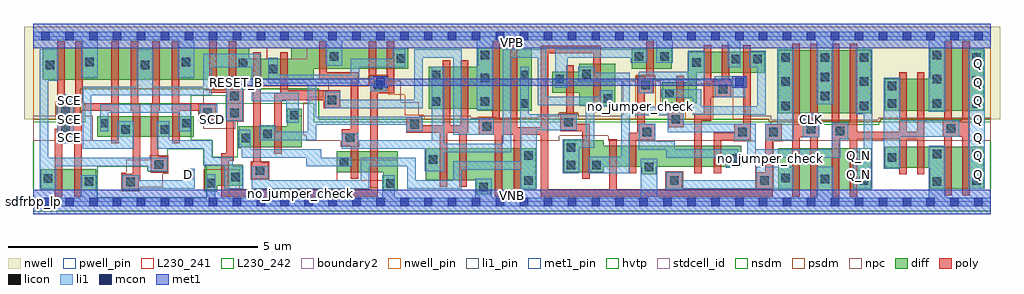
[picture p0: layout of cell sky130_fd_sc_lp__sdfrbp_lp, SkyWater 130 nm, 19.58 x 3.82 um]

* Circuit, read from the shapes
.subckt sky130_fd_sc_lp__sdfrbp_lp CLK D Q Q_N RESET_B SCD SCE VGND VNB VPB VPWR
XM1 n1 SCE n2 VNB sky130_fd_pr__nfet_01v8 w=0.42 l=0.15
XM2 VGND SCE n1 VNB sky130_fd_pr__nfet_01v8 w=0.42 l=0.15
XM3 n3 SCE n4 VNB sky130_fd_pr__nfet_01v8 w=0.42 l=0.15
XM4 n5 D n3 VNB sky130_fd_pr__nfet_01v8 w=0.42 l=0.15
XM5 n6 n2 n5 VNB sky130_fd_pr__nfet_01v8 w=0.42 l=0.15
XM6 n4 SCD n6 VNB sky130_fd_pr__nfet_01v8 w=0.42 l=0.15
XM7 n6 RESET_B VGND VNB sky130_fd_pr__nfet_01v8 w=0.42 l=0.15
XM8 n7 n8 n9 VNB sky130_fd_pr__nfet_01v8 w=0.42 l=0.15
XM9 n3 n10 n7 VNB sky130_fd_pr__nfet_01v8 w=0.42 l=0.15
XM10 n11 n12 n9 VNB sky130_fd_pr__nfet_01v8 w=0.42 l=0.15
XM11 VGND RESET_B n11 VNB sky130_fd_pr__nfet_01v8 w=0.42 l=0.15
XM12 n13 n7 n12 VNB sky130_fd_pr__nfet_01v8 w=0.64 l=0.15
XM13 VGND n7 n13 VNB sky130_fd_pr__nfet_01v8 w=0.64 l=0.15
XM14 n14 n10 VGND VNB sky130_fd_pr__nfet_01v8 w=0.84 l=0.15
XM15 n8 n10 n14 VNB sky130_fd_pr__nfet_01v8 w=0.84 l=0.15
XM16 n15 n8 n12 VNB sky130_fd_pr__nfet_01v8 w=0.64 l=0.15
XM17 n16 n10 n15 VNB sky130_fd_pr__nfet_01v8 w=0.42 l=0.15
XM18 VGND n17 n16 VNB sky130_fd_pr__nfet_01v8 w=0.42 l=0.15
XM19 n18 RESET_B VGND VNB sky130_fd_pr__nfet_01v8 w=0.42 l=0.15
XM20 n17 n15 n18 VNB sky130_fd_pr__nfet_01v8 w=0.42 l=0.15
XM21 n19 CLK n10 VNB sky130_fd_pr__nfet_01v8 w=0.84 l=0.15
XM22 VGND CLK n19 VNB sky130_fd_pr__nfet_01v8 w=0.84 l=0.15
XM23 n20 n15 VGND VNB sky130_fd_pr__nfet_01v8 w=0.84 l=0.15
XM24 Q_N n15 n20 VNB sky130_fd_pr__nfet_01v8 w=0.84 l=0.15
XM25 n21 n15 n22 VNB sky130_fd_pr__nfet_01v8 w=0.42 l=0.15
XM26 VGND n15 n21 VNB sky130_fd_pr__nfet_01v8 w=0.42 l=0.15
XM27 n23 n22 VGND VNB sky130_fd_pr__nfet_01v8 w=0.84 l=0.15
XM28 Q n22 n23 VNB sky130_fd_pr__nfet_01v8 w=0.84 l=0.15
XM29 n24 SCE n2 VPB sky130_fd_pr__pfet_01v8_hvt w=0.64 l=0.15
XM30 VPWR SCE n24 VPB sky130_fd_pr__pfet_01v8_hvt w=0.64 l=0.15
XM31 n25 SCE VPWR VPB sky130_fd_pr__pfet_01v8_hvt w=0.64 l=0.15
XM32 n3 D n25 VPB sky130_fd_pr__pfet_01v8_hvt w=0.64 l=0.15
XM33 n26 n2 n3 VPB sky130_fd_pr__pfet_01v8_hvt w=0.64 l=0.15
XM34 VPWR SCD n26 VPB sky130_fd_pr__pfet_01v8_hvt w=0.64 l=0.15
XM35 n27 RESET_B VPWR VPB sky130_fd_pr__pfet_01v8_hvt w=0.64 l=0.15
XM36 n3 RESET_B n27 VPB sky130_fd_pr__pfet_01v8_hvt w=0.64 l=0.15
XM37 n7 n8 n3 VPB sky130_fd_pr__pfet_01v8_hvt w=0.42 l=0.15
XM38 n28 n10 n7 VPB sky130_fd_pr__pfet_01v8_hvt w=0.42 l=0.15
XM39 VPWR n12 n28 VPB sky130_fd_pr__pfet_01v8_hvt w=0.42 l=0.15
XM40 n29 RESET_B VPWR VPB sky130_fd_pr__pfet_01v8_hvt w=0.42 l=0.15
XM41 n7 RESET_B n29 VPB sky130_fd_pr__pfet_01v8_hvt w=0.42 l=0.15
XM42 n30 n7 n12 VPB sky130_fd_pr__pfet_01v8_hvt w=0.84 l=0.15
XM43 VPWR n7 n30 VPB sky130_fd_pr__pfet_01v8_hvt w=0.84 l=0.15
XM44 n31 n10 VPWR VPB sky130_fd_pr__pfet_01v8_hvt w=1.26 l=0.15
XM45 n8 n10 n31 VPB sky130_fd_pr__pfet_01v8_hvt w=1.26 l=0.15
XM46 n15 n8 n32 VPB sky130_fd_pr__pfet_01v8_hvt w=0.42 l=0.15
XM47 n12 n10 n15 VPB sky130_fd_pr__pfet_01v8_hvt w=0.84 l=0.15
XM48 VPWR n17 n32 VPB sky130_fd_pr__pfet_01v8_hvt w=0.42 l=0.15
XM49 n17 n15 n33 VPB sky130_fd_pr__pfet_01v8_hvt w=0.42 l=0.15
XM50 n34 RESET_B n17 VPB sky130_fd_pr__pfet_01v8_hvt w=0.42 l=0.15
XM51 VPWR RESET_B n34 VPB sky130_fd_pr__pfet_01v8_hvt w=0.42 l=0.15
XM52 n33 n15 VPWR VPB sky130_fd_pr__pfet_01v8_hvt w=0.42 l=0.15
XM53 n35 CLK n10 VPB sky130_fd_pr__pfet_01v8_hvt w=1.26 l=0.15
XM54 VPWR CLK n35 VPB sky130_fd_pr__pfet_01v8_hvt w=1.26 l=0.15
XM55 n36 n15 VPWR VPB sky130_fd_pr__pfet_01v8_hvt w=1.26 l=0.15
XM56 Q_N n15 n36 VPB sky130_fd_pr__pfet_01v8_hvt w=1.26 l=0.15
XM57 n37 n15 n22 VPB sky130_fd_pr__pfet_01v8_hvt w=0.64 l=0.15
XM58 VPWR n15 n37 VPB sky130_fd_pr__pfet_01v8_hvt w=0.64 l=0.15
XM59 n38 n22 VPWR VPB sky130_fd_pr__pfet_01v8_hvt w=1.26 l=0.15
XM60 Q n22 n38 VPB sky130_fd_pr__pfet_01v8_hvt w=1.26 l=0.15
.ends

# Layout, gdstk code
import gdstk
lib = gdstk.Library(unit=1e-6, precision=1e-09)
def R(c, l, rs):  # rectangles x0, y0, x1, y1
    for r in rs: c.add(gdstk.rectangle(r[:2], r[2:], *l))
def A(c, l, x, y, w, h, nx, ny, dx, dy):  # array of equal rectangles
    R(c, l, [(x+i*dx, y+j*dy, x+i*dx+w, y+j*dy+h) for i in range(nx) for j in range(ny)])
def P(c, l, *ps):  # polygons
    for p in ps: c.add(gdstk.Polygon(p, *l))
nwell_pin = (64, 16)
nwell = (64, 20)
diff = (65, 20)
poly = (66, 20)
licon = (66, 44)
li1_pin = (67, 16)
li1 = (67, 20)
mcon = (67, 44)
met1_pin = (68, 16)
met1 = (68, 20)
hvtp = (78, 44)
stdcell_id = (81, 4)
nsdm = (93, 44)
psdm = (94, 20)
npc = (95, 20)
pwell_pin = (122, 16)
L230_241 = (230, 241)
L230_242 = (230, 242)
boundary2 = (236, 0)

sky130_fd_sc_lp__sdfrbp_ = lib.new_cell('sky130_fd_sc_lp__sdfrbp_lp')
R(sky130_fd_sc_lp__sdfrbp_, nwell_pin, [(0,3.085,19.2,3.33)])
P(sky130_fd_sc_lp__sdfrbp_, nwell, [(19.39,3.52),(-0.19,3.52),(-0.19,1.655),(0.935,1.655),(0.935,2.275),(5.725,2.275),(5.725,1.655),(14.76,1.655),(14.76,1.605),(16.99,1.605),(16.99,1.655),(19.39,1.655)])
R(sky130_fd_sc_lp__sdfrbp_, diff, [(0.145,0.235,1.255,0.655), (14.94,0.235,16.81,1.075), (1.275,1.305,3.215,1.725), (14.94,1.785,16.81,3.045), (12.005,2.675,12.805,3.095)])
P(sky130_fd_sc_lp__sdfrbp_, diff, [(19.065,1.105),(17.08,1.105),(17.08,0.685),(17.985,0.685),(17.985,0.265),(19.065,0.265)],
  [(19.065,3.095),(17.985,3.095),(17.985,2.475),(17.08,2.475),(17.08,1.835),(19.065,1.835)],
  [(4.2,0.75),(3.44,0.75),(3.44,0.215),(3.69,0.215),(3.69,0.33),(4.2,0.33)],
  [(5.385,1.875),(5.095,1.875),(5.095,1.515),(4.12,1.515),(4.12,1.095),(5.385,1.095)],
  [(7.305,1.015),(6.08,1.015),(6.08,0.595),(7.015,0.595),(7.015,0.225),(7.305,0.225)],
  [(7.52,3.095),(5.175,3.095),(5.175,2.875),(4.33,2.875),(4.33,3.095),(0.19,3.095),(0.19,2.455),(5.625,2.455),(5.625,2.675),(7.52,2.675)],
  [(9.995,3.095),(8.915,3.095),(8.915,2.715),(7.93,2.715),(7.93,1.875),(8.915,1.875),(8.915,1.835),(9.995,1.835)],
  [(10.075,1.075),(7.87,1.075),(7.87,0.435),(8.885,0.435),(8.885,0.155),(9.175,0.155),(9.175,0.235),(10.075,0.235)],
  [(11.67,2.775),(10.95,2.775),(10.95,2.615),(10.405,2.615),(10.405,2.195),(10.95,2.195),(10.95,1.935),(11.67,1.935)],
  [(14.2,1.125),(11.44,1.125),(11.44,1.235),(10.64,1.235),(10.64,0.595),(11.44,0.595),(11.44,0.705),(12.2,0.705),(12.2,0.56),(12.49,0.56),(12.49,0.705),(14.2,0.705)],
  [(14.67,3.01),(13.125,3.01),(13.125,2.405),(12.615,2.405),(12.615,1.985),(13.31,1.985),(13.31,2.59),(14.67,2.59)])
R(sky130_fd_sc_lp__sdfrbp_, poly, [(4.38,0.465,4.555,0.795)])
P(sky130_fd_sc_lp__sdfrbp_, poly, [(1.71,3.225),(1.56,3.225),(1.56,1.985),(0.985,1.985),(0.985,3.225),(0.835,3.225),(0.835,1.985),(0.625,1.985),(0.625,3.225),(0.475,3.225),(0.475,1.465),(0.43,1.465),(0.43,0.105),(0.58,0.105),(0.58,1.315),(0.82,1.315),(0.82,0.105),(0.97,0.105),(0.97,1.835),(1.56,1.835),(1.56,1.175),(1.71,1.175)],
  [(2.14,1.985),(2.1,1.985),(2.1,3.225),(1.95,3.225),(1.95,1.835),(1.99,1.835),(1.99,0.565),(1.78,0.565),(1.78,0.235),(2.11,0.235),(2.11,0.415),(2.14,0.415)],
  [(2.68,0.915),(2.5,0.915),(2.5,1.835),(2.53,1.835),(2.53,3.225),(2.38,3.225),(2.38,1.985),(2.35,1.985),(2.35,0.585),(2.68,0.585)],
  [(3.655,1.985),(2.92,1.985),(2.92,3.225),(2.77,3.225),(2.77,1.835),(2.78,1.835),(2.78,1.175),(2.93,1.175),(2.93,1.835),(3.325,1.835),(3.325,1.635),(3.655,1.635)],
  [(18.78,3.225),(18.63,3.225),(18.63,1.635),(18.42,1.635),(18.42,3.225),(18.27,3.225),(18.27,1.635),(18.245,1.635),(18.245,1.305),(18.27,1.305),(18.27,0.135),(18.42,0.135),(18.42,1.305),(18.63,1.305),(18.63,0.135),(18.78,0.135)],
  [(4.71,0.795),(4.555,0.795),(4.555,3.005),(4.405,3.005),(4.405,0.465),(4.71,0.465)],
  [(6.155,2.24),(5.1,2.24),(5.1,3.005),(4.95,3.005),(4.95,2.195),(4.835,2.195),(4.835,0.965),(4.985,0.965),(4.985,2.045),(5.825,2.045),(5.825,1.885),(6.155,1.885)],
  [(6.515,2.6),(5.885,2.6),(5.885,3.225),(5.735,3.225),(5.735,2.45),(6.365,2.45),(6.365,1.455),(6.185,1.455),(6.185,1.125),(6.365,1.125),(6.365,0.465),(6.515,0.465)],
  [(7.235,3.225),(7.085,3.225),(7.085,2.515),(6.875,2.515),(6.875,3.225),(6.725,3.225),(6.725,2.365),(6.755,2.365),(6.755,0.255),(3.915,0.255),(3.915,0.825),(4.015,0.825),(4.015,1.625),(4.195,1.625),(4.195,2.345),(4.065,2.345),(4.065,3.225),(3.915,3.225),(3.915,2.345),(3.675,2.345),(3.675,3.225),(3.525,3.225),(3.525,2.195),(3.865,2.195),(3.865,0.975),(3.765,0.975),(3.765,0.105),(6.905,0.105),(6.905,2.185),(7.235,2.185)],
  [(8.725,2.845),(8.575,2.845),(8.575,1.535),(8.365,1.535),(8.365,2.845),(8.215,2.845),(8.215,1.535),(7.81,1.535),(7.81,1.715),(7.48,1.715),(7.48,1.385),(8.155,1.385),(8.155,0.305),(8.305,0.305),(8.305,1.385),(8.545,1.385),(8.545,0.305),(8.695,0.305),(8.695,1.385),(8.725,1.385)],
  [(11.155,1.565),(10.9,1.565),(10.9,1.765),(10.84,1.765),(10.84,2.745),(10.69,2.745),(10.69,1.765),(10.57,1.765),(10.57,1.415),(11.005,1.415),(11.005,0.465),(11.155,0.465)],
  [(12.47,1.565),(12.26,1.565),(12.26,2.185),(12.44,2.185),(12.44,3.225),(12.29,3.225),(12.29,2.515),(12.11,2.515),(12.11,1.385),(11.94,1.385),(11.94,0.575),(12.09,0.575),(12.09,1.235),(12.47,1.235)],
  [(13.05,2.535),(12.9,2.535),(12.9,1.825),(12.72,1.825),(12.72,1.495),(13.05,1.495)],
  [(13.995,2.43),(13.955,2.43),(13.955,3.14),(13.805,3.14),(13.805,2.43),(13.595,2.43),(13.595,3.14),(13.445,3.14),(13.445,1.775),(13.26,1.775),(13.26,0.575),(13.41,0.575),(13.41,1.625),(13.595,1.625),(13.595,2.1),(13.995,2.1)],
  [(14.385,3.14),(14.235,3.14),(14.235,1.57),(14.055,1.57),(14.055,1.385),(13.65,1.385),(13.65,0.575),(13.8,0.575),(13.8,1.235),(14.385,1.235)],
  [(15.015,1.57),(14.685,1.57),(14.685,0.595),(14.5,0.595),(14.5,0.255),(13.02,0.255),(13.02,0.595),(12.69,0.595),(12.69,0.255),(11.7,0.255),(11.7,1.255),(11.55,1.255),(11.55,0.255),(10.33,0.255),(10.33,2.985),(11.235,2.985),(11.235,1.805),(11.385,1.805),(11.385,3.135),(10.18,3.135),(10.18,1.495),(9.71,1.495),(9.71,3.225),(9.56,3.225),(9.56,1.675),(9.35,1.675),(9.35,3.225),(9.2,3.225),(9.2,1.675),(8.935,1.675),(8.935,1.345),(9.25,1.345),(9.25,0.105),(9.4,0.105),(9.4,1.345),(9.64,1.345),(9.64,0.105),(9.79,0.105),(9.79,1.345),(10.18,1.345),(10.18,0.105),(14.835,0.105),(14.835,1.24),(15.015,1.24)],
  [(15.76,1.625),(15.735,1.625),(15.735,3.175),(15.585,3.175),(15.585,1.625),(15.375,1.625),(15.375,3.175),(15.225,3.175),(15.225,0.105),(15.375,0.105),(15.375,1.295),(15.585,1.295),(15.585,0.105),(15.735,0.105),(15.735,1.295),(15.76,1.295)],
  [(17.875,2.605),(17.725,2.605),(17.725,1.405),(17.515,1.405),(17.515,2.605),(17.365,2.605),(17.365,1.405),(16.525,1.405),(16.525,3.175),(16.375,3.175),(16.375,1.585),(16.165,1.585),(16.165,3.175),(16.015,3.175),(16.015,0.105),(16.165,0.105),(16.165,1.255),(16.375,1.255),(16.375,0.105),(16.525,0.105),(16.525,1.255),(17.365,1.255),(17.365,0.555),(17.515,0.555),(17.515,1.255),(17.725,1.255),(17.725,0.555),(17.875,0.555)])
A(sky130_fd_sc_lp__sdfrbp_, licon, 18.045, 1.895, 0.17, 0.17, 1, 3, 0, 0.485)
A(sky130_fd_sc_lp__sdfrbp_, licon, 18.835, 1.895, 0.17, 0.17, 1, 3, 0, 0.46)
A(sky130_fd_sc_lp__sdfrbp_, licon, 8.975, 1.935, 0.17, 0.17, 1, 3, 0, 0.465)
A(sky130_fd_sc_lp__sdfrbp_, licon, 15, 2.815, 0.17, 0.17, 3, 1, 0.79, 0)
R(sky130_fd_sc_lp__sdfrbp_, licon, [(8.945,0.215,9.115,0.385), (7.075,0.285,7.245,0.455), (3.48,0.295,3.65,0.465), (1.86,0.315,2.03,0.485), (18.045,0.325,18.215,0.495), (1.025,0.33,1.195,0.5), (9.845,0.345,10.015,0.515), (12.77,0.345,12.94,0.515), (14.58,0.345,14.75,0.515), (16.58,0.345,16.75,0.515), (18.835,0.345,19.005,0.515), (15.79,0.375,15.96,0.545), (0.205,0.385,0.375,0.555), (15,0.4,15.17,0.57), (3.97,0.42,4.14,0.59), (4.46,0.545,4.63,0.715), (12.26,0.62,12.43,0.79), (10.7,0.655,10.87,0.825), (11.21,0.655,11.38,0.825), (2.43,0.665,2.6,0.835), (6.14,0.715,6.31,0.885), (7.93,0.77,8.1,0.94), (13.97,0.785,14.14,0.955), (17.14,0.81,17.31,0.98), (16.58,0.825,16.75,0.995), (9.845,0.845,10.015,1.015), (18.045,0.875,18.215,1.045), (18.835,0.875,19.005,1.045), (10.7,1.005,10.87,1.175), (4.18,1.195,4.35,1.365), (6.265,1.205,6.435,1.375), (4.61,1.275,4.78,1.445), (12.22,1.315,12.39,1.485), (14.135,1.32,14.305,1.49), (14.765,1.32,14.935,1.49), (16.095,1.335,16.265,1.505), (1.765,1.365,1.935,1.535), (2.555,1.365,2.725,1.535), (15.51,1.375,15.68,1.545), (18.325,1.385,18.495,1.555), (0.555,1.395,0.725,1.565), (9.015,1.425,9.185,1.595), (7.56,1.465,7.73,1.635), (1.335,1.495,1.505,1.665), (2.985,1.495,3.155,1.665), (10.65,1.515,10.82,1.685), (12.8,1.575,12.97,1.745), (5.155,1.665,5.325,1.835), (3.945,1.705,4.115,1.875), (3.405,1.715,3.575,1.885), (0.555,1.735,0.725,1.905), (15,1.845,15.17,2.015), (16.58,1.845,16.75,2.015), (9.765,1.895,9.935,2.065), (17.14,1.895,17.31,2.065), (7.99,1.935,8.16,2.105), (5.905,1.965,6.075,2.135), (11.44,1.995,11.61,2.165), (15.79,2.04,15.96,2.21), (3.945,2.045,4.115,2.215), (12.675,2.095,12.845,2.265), (13.745,2.18,13.915,2.35), (17.14,2.245,17.31,2.415), (6.835,2.265,7.005,2.435), (12.19,2.265,12.36,2.435), (15,2.33,15.17,2.5), (16.58,2.33,16.75,2.5), (10.465,2.38,10.635,2.55), (15.79,2.425,15.96,2.595), (7.99,2.465,8.16,2.635), (9.765,2.465,9.935,2.635), (11.01,2.485,11.18,2.655), (4.725,2.58,4.895,2.75), (0.25,2.665,0.42,2.835), (2.155,2.665,2.325,2.835), (4.12,2.705,4.29,2.875), (13.22,2.715,13.39,2.885), (1.04,2.72,1.21,2.89), (2.975,2.72,3.145,2.89), (14.01,2.78,14.18,2.95), (14.44,2.78,14.61,2.95), (7.29,2.795,7.46,2.965), (12.065,2.83,12.235,3), (12.575,2.83,12.745,3), (5.94,2.835,6.11,3.005)])
A(sky130_fd_sc_lp__sdfrbp_, li1_pin, 18.875, 0.47, 0.17, 0.17, 1, 7, 0, 0.37)
A(sky130_fd_sc_lp__sdfrbp_, li1_pin, 0.635, 1.21, 0.17, 0.17, 1, 3, 0, 0.37)
R(sky130_fd_sc_lp__sdfrbp_, li1_pin, [(3.035,0.47,3.205,0.64), (16.475,0.47,16.645,0.64), (16.475,0.84,16.645,1.01), (3.515,1.58,3.685,1.75), (15.515,1.58,15.685,1.75)])
R(sky130_fd_sc_lp__sdfrbp_, li1, [(18.755,0.265,19.085,3.065), (0.475,1.18,0.805,2.15), (15.43,1.295,15.76,1.78), (3.335,1.55,3.685,1.965), (3.865,1.625,4.195,2.52), (13.665,2.1,14.275,2.52), (6.755,2.225,7.085,2.52)])
P(sky130_fd_sc_lp__sdfrbp_, li1, [(2.68,0.885),(0.295,0.885),(0.295,2.435),(0.5,2.435),(0.5,3.065),(0.125,3.065),(0.125,0.265),(0.455,0.265),(0.455,0.715),(2.295,0.715),(2.295,0.615),(2.68,0.615)],
  [(3.155,1.965),(1.335,1.965),(1.335,1.415),(1.505,1.415),(1.505,1.795),(2.905,1.795),(2.905,1.415),(3.155,1.415)],
  [(3.235,0.67),(3.005,0.67),(3.005,0.435),(2.11,0.435),(2.11,0.535),(1.78,0.535),(1.78,0.265),(3.235,0.265)],
  [(18.575,1.635),(17.39,1.635),(17.39,2.495),(17.06,2.495),(17.06,0.665),(17.39,0.665),(17.39,1.305),(18.575,1.305)],
  [(19.2,0.085),(18.295,0.085),(18.295,1.125),(17.965,1.125),(17.965,0.085),(16.04,0.085),(16.04,0.71),(15.71,0.71),(15.71,0.085),(12.51,0.085),(12.51,0.87),(12.18,0.87),(12.18,0.085),(9.195,0.085),(9.195,0.465),(8.865,0.465),(8.865,0.085),(7.245,0.085),(7.245,0.535),(6.995,0.535),(6.995,0.085),(3.65,0.085),(3.65,0.555),(3.48,0.555),(3.48,0.085),(1.275,0.085),(1.275,0.535),(0.945,0.535),(0.945,0.085),(0,0.085),(0,-0.085),(19.2,-0.085)],
  [(16.345,1.585),(16.015,1.585),(16.015,1.06),(14.49,1.06),(14.49,1.57),(13.05,1.57),(13.05,1.915),(11.96,1.915),(11.96,2.595),(11.26,2.595),(11.26,2.715),(10.93,2.715),(10.93,2.425),(11.79,2.425),(11.79,0.905),(11.13,0.905),(11.13,0.575),(11.96,0.575),(11.96,1.745),(12.72,1.745),(12.72,1.4),(14.055,1.4),(14.055,1.24),(14.32,1.24),(14.32,0.89),(16.185,0.89),(16.185,1.255),(16.345,1.255)],
  [(19.2,3.415),(0,3.415),(0,3.245),(0.96,3.245),(0.96,2.495),(1.29,2.495),(1.29,3.245),(2.895,3.245),(2.895,2.495),(3.225,2.495),(3.225,3.245),(5.86,3.245),(5.86,2.735),(6.19,2.735),(6.19,3.245),(8.895,3.245),(8.895,1.855),(9.225,1.855),(9.225,3.245),(12.495,3.245),(12.495,2.795),(12.825,2.795),(12.825,3.245),(13.93,3.245),(13.93,2.7),(14.18,2.7),(14.18,3.245),(15.71,3.245),(15.71,1.96),(16.04,1.96),(16.04,3.245),(17.965,3.245),(17.965,1.815),(18.295,1.815),(18.295,3.245),(19.2,3.245)],
  [(16.83,3.065),(16.5,3.065),(16.5,1.765),(16.66,1.765),(16.66,1.075),(16.445,1.075),(16.445,0.265),(16.83,0.265)],
  [(15.25,0.71),(14.5,0.71),(14.5,0.435),(13.02,0.435),(13.02,0.595),(12.69,0.595),(12.69,0.265),(15.25,0.265)],
  [(4.21,0.715),(4,0.715),(4,0.895),(3.585,0.895),(3.585,1.235),(2.725,1.235),(2.725,1.615),(2.475,1.615),(2.475,1.065),(3.415,1.065),(3.415,0.725),(3.83,0.725),(3.83,0.265),(4.21,0.265)],
  [(5.325,2.195),(4.545,2.195),(4.545,2.975),(3.405,2.975),(3.405,2.315),(2.405,2.315),(2.405,3.065),(2.075,3.065),(2.075,2.315),(0.985,2.315),(0.985,1.065),(2.015,1.065),(2.015,1.615),(1.685,1.615),(1.685,1.235),(1.155,1.235),(1.155,2.145),(3.575,2.145),(3.575,2.7),(4.375,2.7),(4.375,2.025),(5.075,2.025),(5.075,1.585),(5.325,1.585)],
  [(6.39,0.885),(5.77,0.885),(5.77,1.055),(4.35,1.055),(4.35,1.445),(4.1,1.445),(4.1,1.075),(4.18,1.075),(4.18,0.885),(5.47,0.885),(5.47,0.715),(6.39,0.715)],
  [(7.81,1.715),(5.675,1.715),(5.675,2.385),(6.54,2.385),(6.54,2.7),(7.46,2.7),(7.46,3.065),(7.21,3.065),(7.21,2.87),(6.37,2.87),(6.37,2.555),(4.905,2.555),(4.905,2.895),(4.715,2.895),(4.715,2.385),(5.505,2.385),(5.505,1.405),(4.86,1.405),(4.86,1.535),(4.53,1.535),(4.53,1.235),(5.675,1.235),(5.675,1.545),(7.48,1.545),(7.48,1.415),(7.81,1.415)],
  [(9.235,1.675),(8.59,1.675),(8.59,3.065),(7.64,3.065),(7.64,2.055),(6.155,2.055),(6.155,2.215),(5.855,2.215),(5.855,1.885),(7.81,1.885),(7.81,2.895),(8.42,2.895),(8.42,1.345),(9.235,1.345)],
  [(10.9,1.765),(9.935,1.765),(9.935,2.715),(9.765,2.715),(9.765,0.815),(8.42,0.815),(8.42,0.435),(7.67,0.435),(7.67,0.885),(6.57,0.885),(6.57,0.435),(4.71,0.435),(4.71,0.715),(4.38,0.715),(4.38,0.265),(6.74,0.265),(6.74,0.715),(7.5,0.715),(7.5,0.265),(8.59,0.265),(8.59,0.645),(9.765,0.645),(9.765,0.265),(10.095,0.265),(10.095,1.435),(10.9,1.435)],
  [(11.61,2.245),(11.36,2.245),(11.36,2.115),(10.285,2.115),(10.285,3.065),(9.415,3.065),(9.415,1.165),(8.24,1.165),(8.24,2.715),(7.99,2.715),(7.99,1.235),(6.515,1.235),(6.515,1.375),(6.185,1.375),(6.185,1.065),(7.85,1.065),(7.85,0.615),(8.24,0.615),(8.24,0.995),(9.585,0.995),(9.585,2.895),(10.115,2.895),(10.115,1.945),(11.08,1.945),(11.08,1.255),(10.62,1.255),(10.62,0.575),(10.95,0.575),(10.95,1.085),(11.25,1.085),(11.25,1.915),(11.61,1.915)],
  [(12.315,3.065),(10.465,3.065),(10.465,2.295),(10.715,2.295),(10.715,2.895),(11.985,2.895),(11.985,2.795),(12.315,2.795)],
  [(13.47,3.03),(13.14,3.03),(13.14,2.615),(12.14,2.615),(12.14,2.185),(12.415,2.185),(12.415,2.445),(13.47,2.445)],
  [(14.14,1.06),(12.86,1.06),(12.86,1.22),(12.47,1.22),(12.47,1.565),(12.14,1.565),(12.14,1.05),(12.69,1.05),(12.69,0.89),(13.89,0.89),(13.89,0.685),(14.14,0.685)],
  [(14.69,3.03),(14.36,3.03),(14.36,2.7),(14.52,2.7),(14.52,1.92),(13.4,1.92),(13.4,2.265),(12.595,2.265),(12.595,2.095),(13.23,2.095),(13.23,1.75),(14.69,1.75)],
  [(15.25,3.065),(14.92,3.065),(14.92,1.57),(14.685,1.57),(14.685,1.24),(15.25,1.24)])
A(sky130_fd_sc_lp__sdfrbp_, mcon, 0.155, -0.085, 0.17, 0.17, 40, 2, 0.48, 3.33)
R(sky130_fd_sc_lp__sdfrbp_, mcon, [(3.995,2.32,4.165,2.49), (6.875,2.32,7.045,2.49), (14.075,2.32,14.245,2.49)])
R(sky130_fd_sc_lp__sdfrbp_, met1_pin, [(0,0,19.2,0.245), (3.995,2.32,4.165,2.49), (0,3.085,19.2,3.33)])
R(sky130_fd_sc_lp__sdfrbp_, met1, [(0,-0.245,19.2,0.245), (0,3.085,19.2,3.575)])
P(sky130_fd_sc_lp__sdfrbp_, met1, [(14.305,2.52),(14.015,2.52),(14.015,2.475),(7.105,2.475),(7.105,2.52),(6.815,2.52),(6.815,2.475),(4.225,2.475),(4.225,2.52),(3.935,2.52),(3.935,2.29),(4.225,2.29),(4.225,2.335),(6.815,2.335),(6.815,2.29),(7.105,2.29),(7.105,2.335),(14.015,2.335),(14.015,2.29),(14.305,2.29)])
P(sky130_fd_sc_lp__sdfrbp_, hvtp, [(19.2,3.33),(0,3.33),(0,1.6),(1.04,1.6),(1.04,1.97),(5.62,1.97),(5.62,1.6),(14.79,1.6),(14.79,1.55),(16.965,1.55),(16.965,1.6),(19.2,1.6)])
R(sky130_fd_sc_lp__sdfrbp_, stdcell_id, [(0,0,19.2,3.33)])
P(sky130_fd_sc_lp__sdfrbp_, nsdm, [(19.2,1.655),(16.99,1.655),(16.99,1.605),(14.76,1.605),(14.76,1.655),(5.725,1.655),(5.725,2.275),(0.935,2.275),(0.935,1.655),(0,1.655),(0,-0.19),(19.2,-0.19)])
P(sky130_fd_sc_lp__sdfrbp_, psdm, [(19.2,3.52),(0,3.52),(0,1.655),(0.445,1.655),(0.445,2.015),(0.935,2.015),(0.935,2.275),(3.835,2.275),(3.835,2.325),(6.725,2.325),(6.725,2.545),(7.115,2.545),(7.115,2.155),(7.45,2.155),(7.45,1.745),(7.84,1.745),(7.84,1.655),(8.905,1.655),(8.905,1.705),(9.295,1.705),(9.295,1.655),(10.54,1.655),(10.54,1.795),(10.93,1.795),(10.93,1.655),(12.08,1.655),(12.08,2.545),(12.47,2.545),(12.47,1.855),(13.08,1.855),(13.08,1.655),(13.635,1.655),(13.635,2.46),(14.025,2.46),(14.025,1.655),(14.76,1.655),(14.76,1.605),(15.4,1.605),(15.4,1.655),(15.79,1.655),(15.79,1.615),(16.375,1.615),(16.375,1.605),(16.99,1.605),(16.99,1.655),(18.215,1.655),(18.215,1.665),(18.605,1.665),(18.605,1.655),(19.2,1.655)])
R(sky130_fd_sc_lp__sdfrbp_, npc, [(12.67,0.225,13.04,0.615), (4.36,0.445,4.73,0.815)])
P(sky130_fd_sc_lp__sdfrbp_, npc, [(19.2,1.695),(16.95,1.695),(16.95,1.645),(14.8,1.645),(14.8,1.73),(14.28,1.73),(14.28,2.345),(14.015,2.345),(14.015,2.45),(13.645,2.45),(13.645,2.375),(13.14,2.375),(13.14,1.895),(12.81,1.895),(12.81,2.005),(12.585,2.005),(12.585,2.43),(12.46,2.43),(12.46,2.535),(12.09,2.535),(12.09,2.43),(11.825,2.43),(11.825,1.73),(10.92,1.73),(10.92,1.785),(10.55,1.785),(10.55,1.73),(10.135,1.73),(10.135,1.695),(8.775,1.695),(8.775,1.73),(7.83,1.73),(7.83,1.735),(7.725,1.735),(7.725,2),(7.37,2),(7.37,2.43),(7.105,2.43),(7.105,2.535),(6.735,2.535),(6.735,2.48),(5.91,2.48),(5.91,2.235),(5.805,2.235),(5.805,2.11),(5.54,2.11),(5.54,1.995),(5.415,1.995),(5.415,1.34),(5.475,1.34),(5.475,1.23),(6.165,1.23),(6.165,1.105),(6.535,1.105),(6.535,1.23),(10.55,1.23),(10.55,1.325),(11.53,1.325),(11.53,1.23),(12.12,1.23),(12.12,1.215),(12.49,1.215),(12.49,1.23),(14.035,1.23),(14.035,1.22),(14.48,1.22),(14.48,0.245),(14.855,0.245),(14.855,1.22),(15.035,1.22),(15.035,1.23),(19.2,1.23)],
  [(4.215,2.315),(3.845,2.315),(3.845,2.25),(3.41,2.25),(3.41,1.985),(3.305,1.985),(3.305,1.605),(3.41,1.605),(3.41,1.465),(4.05,1.465),(4.05,1.605),(4.215,1.605)],
  [(2.7,0.935),(2.33,0.935),(2.33,0.85),(1.865,0.85),(1.865,0.585),(1.76,0.585),(1.76,0.215),(2.13,0.215),(2.13,0.3),(2.595,0.3),(2.595,0.565),(2.7,0.565)],
  [(1.185,1.73),(0.825,1.73),(0.825,2.005),(0.455,2.005),(0.455,1.73),(0,1.73),(0,1.23),(1.185,1.23)])
R(sky130_fd_sc_lp__sdfrbp_, pwell_pin, [(0,0,19.2,0.245)])
R(sky130_fd_sc_lp__sdfrbp_, L230_241, [(3.42,0.235,4.14,0.655), (3.335,1.55,3.685,1.965)])
P(sky130_fd_sc_lp__sdfrbp_, L230_241, [(7.305,0.845),(6.08,0.845),(6.08,0.425),(7.015,0.425),(7.015,0.225),(7.305,0.225)],
  [(5.385,1.735),(5.095,1.735),(5.095,1.515),(4.12,1.515),(4.12,1.095),(5.385,1.095)],
  [(7.52,3.095),(5.485,3.095),(5.485,2.875),(4.685,2.875),(4.685,3.095),(0.19,3.095),(0.19,2.455),(5.625,2.455),(5.625,2.675),(7.52,2.675)],
  [(3.235,0.67),(3.005,0.67),(3.005,0.435),(2.11,0.435),(2.11,0.535),(1.78,0.535),(1.78,0.265),(3.235,0.265)])
P(sky130_fd_sc_lp__sdfrbp_, L230_242, [(6.905,0.295),(6.755,0.295),(6.755,0.255),(3.915,0.255),(3.915,0.105),(6.905,0.105)],
  [(3.48,0.725),(3.415,0.725),(3.415,1.065),(2.68,1.065),(2.68,0.615),(2.295,0.615),(2.295,0.715),(1.275,0.715),(1.275,0.085),(3.48,0.085)],
  [(4.1,1.625),(3.865,1.625),(3.865,2.145),(3.155,2.145),(3.155,1.235),(3.585,1.235),(3.585,0.895),(4.1,0.895)])
R(sky130_fd_sc_lp__sdfrbp_, boundary2, [(0,0,19.2,3.33)])
sky130_fd_sc_lp__sdfrbp_.add(gdstk.Label('VNB', (9.6,0.123), layer=64, texttype=59))
sky130_fd_sc_lp__sdfrbp_.add(gdstk.Label('VPB', (9.6,3.208), layer=64, texttype=5))
sky130_fd_sc_lp__sdfrbp_.add(gdstk.Label('no_jumper_check', (5.365,0.18), layer=83, texttype=44))
sky130_fd_sc_lp__sdfrbp_.add(gdstk.Label('sdfrbp_lp', (0,0), layer=83, texttype=44))
sky130_fd_sc_lp__sdfrbp_.add(gdstk.Label('no_jumper_check', (14.785,0.875), layer=83, texttype=44))
sky130_fd_sc_lp__sdfrbp_.add(gdstk.Label('no_jumper_check', (12.17,1.925), layer=83, texttype=44))
sky130_fd_sc_lp__sdfrbp_.add(gdstk.Label('RESET_B', (4.08,2.405), layer=68, texttype=5))
sky130_fd_sc_lp__sdfrbp_.add(gdstk.Label('VPWR', (9.6,3.208), layer=68, texttype=5))
sky130_fd_sc_lp__sdfrbp_.add(gdstk.Label('VGND', (9.6,0.123), layer=68, texttype=5))
sky130_fd_sc_lp__sdfrbp_.add(gdstk.Label('Q', (18.96,0.555), layer=67, texttype=5))
sky130_fd_sc_lp__sdfrbp_.add(gdstk.Label('Q', (18.96,0.925), layer=67, texttype=5))
sky130_fd_sc_lp__sdfrbp_.add(gdstk.Label('Q', (18.96,1.295), layer=67, texttype=5))
sky130_fd_sc_lp__sdfrbp_.add(gdstk.Label('Q', (18.96,1.665), layer=67, texttype=5))
sky130_fd_sc_lp__sdfrbp_.add(gdstk.Label('Q', (18.96,2.035), layer=67, texttype=5))
sky130_fd_sc_lp__sdfrbp_.add(gdstk.Label('Q', (18.96,2.405), layer=67, texttype=5))
sky130_fd_sc_lp__sdfrbp_.add(gdstk.Label('Q', (18.96,2.775), layer=67, texttype=5))
sky130_fd_sc_lp__sdfrbp_.add(gdstk.Label('SCE', (0.72,1.295), layer=67, texttype=5))
sky130_fd_sc_lp__sdfrbp_.add(gdstk.Label('SCE', (0.72,1.665), layer=67, texttype=5))
sky130_fd_sc_lp__sdfrbp_.add(gdstk.Label('SCE', (0.72,2.035), layer=67, texttype=5))
sky130_fd_sc_lp__sdfrbp_.add(gdstk.Label('Q_N', (16.56,0.555), layer=67, texttype=5))
sky130_fd_sc_lp__sdfrbp_.add(gdstk.Label('Q_N', (16.56,0.925), layer=67, texttype=5))
sky130_fd_sc_lp__sdfrbp_.add(gdstk.Label('SCD', (3.6,1.665), layer=67, texttype=5))
sky130_fd_sc_lp__sdfrbp_.add(gdstk.Label('CLK', (15.6,1.665), layer=67, texttype=5))
sky130_fd_sc_lp__sdfrbp_.add(gdstk.Label('D', (3.12,0.555), layer=67, texttype=5))

lib.write_gds('sky130_fd_sc_lp__sdfrbp_lp.gds')
